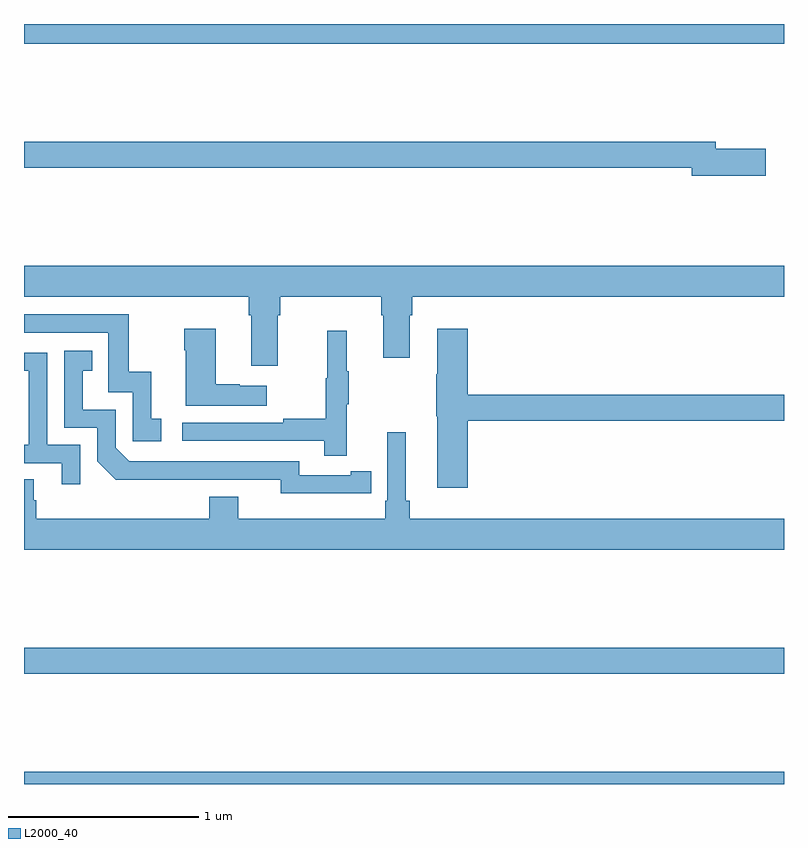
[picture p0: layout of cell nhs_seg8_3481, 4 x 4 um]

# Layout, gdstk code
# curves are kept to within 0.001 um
import gdstk
lib = gdstk.Library(unit=1e-6, precision=1e-09)
def R(c, l, rs):  # rectangles x0, y0, x1, y1
    for r in rs: c.add(gdstk.rectangle(r[:2], r[2:], *l))
def P(c, l, *ps):  # polygons
    for p in ps: c.add(gdstk.Polygon(p, *l))
L2000_40 = (2000, 40)

nhs_seg8_3481 = lib.new_cell('nhs_seg8_3481')
R(nhs_seg8_3481, L2000_40, [(325,1149.9,329,1149.964), (325,1150.48,329,1150.616), (325,1153.796,329,1153.9)])
P(nhs_seg8_3481, L2000_40, [(328.903,1153.244),(328.642,1153.244),(328.642,1153.28),(325,1153.28),(325,1153.144),(328.514,1153.144),(328.514,1153.102),(328.903,1153.102)],
  [(326.335,1152.368),(326.348,1152.368),(326.348,1152.464),(326.879,1152.464),(326.879,1152.368),(326.891,1152.368),(326.891,1152.144),(327.031,1152.144),(327.031,1152.368),(327.044,1152.368),(327.044,1152.464),(329,1152.464),(329,1152.628),(325,1152.628),(325,1152.464),(326.183,1152.464),(326.183,1152.368),(326.195,1152.368),(326.195,1152.102),(326.335,1152.102)],
  [(325.723,1151.823),(325.67,1151.823),(325.67,1152.07),(325.552,1152.07),(325.552,1152.372),(325,1152.372),(325,1152.276),(325.443,1152.276),(325.443,1151.961),(325.572,1151.961),(325.572,1151.703),(325.723,1151.703)],
  [(327.335,1151.812),(329,1151.812),(329,1151.948),(327.335,1151.948),(327.335,1152.295),(327.176,1152.295),(327.176,1152.056),(327.169,1152.056),(327.169,1151.835),(327.176,1151.835),(327.176,1151.46),(327.335,1151.46)],
  [(326.278,1151.995),(326.135,1151.995),(326.135,1152.005),(326.008,1152.005),(326.008,1152.295),(325.843,1152.295),(325.843,1152.182),(325.85,1152.182),(325.85,1151.891),(326.278,1151.891)],
  [(326.699,1151.899),(326.71,1151.899),(326.71,1152.073),(326.699,1152.073),(326.699,1152.286),(326.596,1152.286),(326.596,1152.036),(326.589,1152.036),(326.589,1151.822),(326.365,1151.822),(326.365,1151.802),(325.833,1151.802),(325.833,1151.706),(326.581,1151.706),(326.581,1151.628),(326.699,1151.628)],
  [(326.72,1151.43),(326.828,1151.43),(326.828,1151.546),(326.72,1151.546),(326.72,1151.526),(326.448,1151.526),(326.448,1151.598),(325.554,1151.598),(325.482,1151.67),(325.482,1151.871),(325.309,1151.871),(325.309,1152.075),(325.358,1152.075),(325.358,1152.181),(325.212,1152.181),(325.212,1151.775),(325.386,1151.775),(325.386,1151.598),(325.484,1151.501),(326.352,1151.502),(326.352,1151.429)],
  [(325.296,1151.685),(325.122,1151.685),(325.122,1152.171),(325,1152.171),(325,1152.074),(325.026,1152.074),(325.026,1151.685),(325,1151.685),(325,1151.589),(325.199,1151.589),(325.199,1151.478),(325.296,1151.478)],
  [(329,1151.296),(327.029,1151.296),(327.029,1151.392),(327.01,1151.392),(327.01,1151.752),(326.913,1151.752),(326.913,1151.392),(326.9,1151.392),(326.9,1151.296),(326.128,1151.296),(326.128,1151.413),(325.976,1151.413),(325.976,1151.296),(325.064,1151.296),(325.064,1151.394),(325.051,1151.394),(325.051,1151.504),(325,1151.504),(325,1151.132),(329,1151.132)])

lib.write_gds('nhs_seg8_3481.gds')
